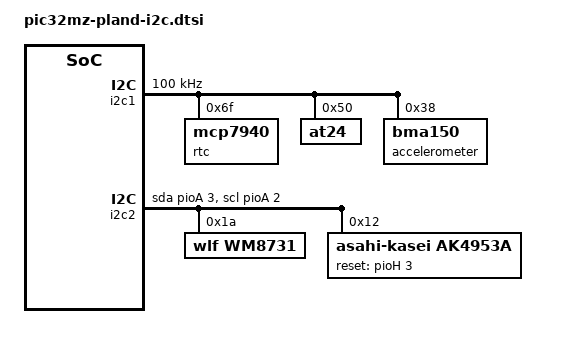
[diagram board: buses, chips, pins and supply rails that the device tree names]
/ {
	i2c1: i2c@bf820000 {
		compatible = "microchip,pic32-i2c";
		reg = <0xbf820000 512>;
		interrupts = <I2C1_MASTER_EVENT DEFAULT_INT_PRI IRQ_TYPE_EDGE_RISING>;
		clock-frequency = <100000>;
		clocks = <&PBCLK2>;
		#address-cells = <1>;
		#size-cells = <0>;
		pinctrl-names = "default";
		pinctrl-0 = <&pinctrl_i2c1>;
		status = "ok";

		rtc@6f {
			compatible = "mcp7940";
			reg = <0x6f>;
		};

		at24@50 {
			compatible = "at24";
			reg = <0x50>;
			pagesize = <64>;
		};

		accelerometer@38 {
			compatible = "bma150";
			reg = <0x38>;
		};
	};

#if 0
	i2c2: i2c@bf820200 {
		compatible = "microchip,pic32-i2c";
		reg = <0xbf820200 512>;
		interrupts = <I2C2_MASTER_EVENT DEFAULT_INT_PRI IRQ_TYPE_EDGE_RISING>;
		clock-frequency = <100000>;
		clocks = <&PBCLK2>;
		#address-cells = <1>;
		#size-cells = <0>;
		pinctrl-names = "default";
		pinctrl-0 = <&pinctrl_i2c2>;
		status = "ok";

		wm8731: wm8731@1a {
                        compatible = "wlf,wm8731";
                        reg = <0x1a>;
                };

		ak4953a: ak4953a@12 {
			compatible = "asahi-kasei,ak4953a";
			reg = <0x12>;
			reset-gpio = <&pioH 3 0>;
		};
	};
#else
       i2c2: i2c2@gpio {
                compatible = "i2c-gpio";
                gpios = <&pioA 3 GPIO_ACTIVE_HIGH>, <&pioA 2 GPIO_ACTIVE_HIGH>;
                i2c-gpio,delay-us = <2>;
                #address-cells = <1>;
               #size-cells = <0>;
               status = "okay";
               pinctrl-names = "default";
               pinctrl-0 = <&pinctrl_i2c2>;

               wm8731: wm8731@1a {
                        compatible = "wlf,wm8731";
                        reg = <0x1a>;
                };

               ak4953a: ak4953a@12 {
                       compatible = "asahi-kasei,ak4953a";
                       reg = <0x12>;
                       reset-gpio = <&pioH 3 0>;
               };
       };
#endif

	i2c3: i2c@bf820400 {
		compatible = "microchip,pic32-i2c";
		reg = <0xbf820400 512>;
		interrupts = <I2C3_MASTER_EVENT DEFAULT_INT_PRI IRQ_TYPE_EDGE_RISING>;
		clock-frequency = <100000>;
		clocks = <&PBCLK2>;
		pinctrl-names = "default";
		pinctrl-0 = <&pinctrl_i2c3>;
		status = "disabled";
	};

	i2c4: i2c@bf820600 {
		compatible = "microchip,pic32-i2c";
		reg = <0xbf820600 512>;
		interrupts = <I2C4_MASTER_EVENT DEFAULT_INT_PRI IRQ_TYPE_EDGE_RISING>;
		clock-frequency = <100000>;
		clocks = <&PBCLK2>;
		pinctrl-names = "default";
		pinctrl-0 = <&pinctrl_i2c4>;
		status = "disabled";
	};

	i2c5: i2c@bf820800 {
		compatible = "microchip,pic32-i2c";
		reg = <0xbf820800 512>;
		interrupts = <I2C5_MASTER_EVENT DEFAULT_INT_PRI IRQ_TYPE_EDGE_RISING>;
		clock-frequency = <100000>;
		clocks = <&PBCLK2>;
		pinctrl-names = "default";
		pinctrl-0 = <&pinctrl_i2c5>;
		status = "disabled";
	};
};
